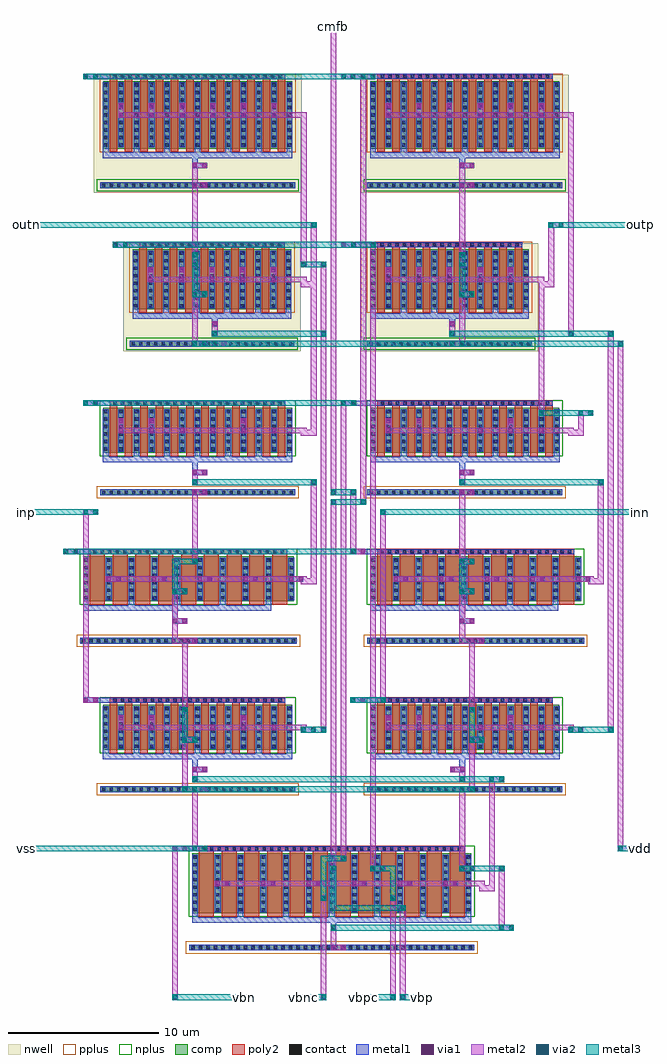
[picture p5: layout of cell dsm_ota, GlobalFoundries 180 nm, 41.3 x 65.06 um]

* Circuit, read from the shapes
.subckt dsm_ota cmfb inn inp outn outp vbn vbnc vbp vbpc vdd vss
XM1 n1 cmfb vss vss nfet_03v3 w=3u l=1u m=9
XM2 n2 inp n3 vss nfet_03v3 w=3u l=0.5u m=12
XM3 outn vbnc n1 vss nfet_03v3 w=3u l=0.5u m=12
XM4 n3 vbn vss vss nfet_03v3 w=4u l=1u m=12
XM5 n4 inn n3 vss nfet_03v3 w=3u l=0.5u m=12
XM6 n5 cmfb vss vss nfet_03v3 w=3u l=1u m=9
XM7 outp vbnc n5 vss nfet_03v3 w=3u l=0.5u m=12
XM8 n2 vbp vdd vdd pfet_03v3 w=4.5u l=0.5u m=12
XM9 outn vbpc n2 vdd pfet_03v3 w=4u l=0.5u m=10
XM10 outp vbpc n4 vdd pfet_03v3 w=4u l=0.5u m=10
XM11 n4 vbp vdd vdd pfet_03v3 w=4.5u l=0.5u m=12
.ends

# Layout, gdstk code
import gdstk
lib = gdstk.Library(unit=1e-6, precision=1e-09)
def R(c, l, rs):  # rectangles x0, y0, x1, y1
    for r in rs: c.add(gdstk.rectangle(r[:2], r[2:], *l))
def A(c, l, x, y, w, h, nx, ny, dx, dy):  # array of equal rectangles
    R(c, l, [(x+i*dx, y+j*dy, x+i*dx+w, y+j*dy+h) for i in range(nx) for j in range(ny)])
nwell = (21, 0)
comp = (22, 0)
poly2 = (30, 0)
pplus = (31, 0)
nplus = (32, 0)
contact = (33, 0)
metal1 = (34, 0)
via1 = (35, 0)
metal2 = (36, 0)
via2 = (38, 0)
metal3 = (42, 0)

dsm_ota_d4_p_m = lib.new_cell('dsm_ota_d4_p_m')
R(dsm_ota_d4_p_m, nwell, [(-0.43,-0.43,13.03,4.93)])
R(dsm_ota_d4_p_m, comp, [(0,0,12.6,4.5)])
A(dsm_ota_d4_p_m, poly2, 0.44, -0.22, 0.5, 5.22, 12, 1, 1.02, 0)
R(dsm_ota_d4_p_m, poly2, [(0.44,4.64,12.16,5)])
R(dsm_ota_d4_p_m, pplus, [(-0.23,-0.23,12.83,5)])
A(dsm_ota_d4_p_m, contact, 0.07, 0.14, 0.22, 0.22, 13, 9, 1.02, 0.5)
A(dsm_ota_d4_p_m, contact, 0.69, 4.71, 0.22, 0.22, 23, 1, 0.5, 0)
A(dsm_ota_d4_p_m, metal1, -0.01, -0.25, 0.38, 4.67, 7, 1, 2.04, 0)
A(dsm_ota_d4_p_m, metal1, -0.01, 0.08, 0.38, 4.34, 13, 1, 1.02, 0)
A(dsm_ota_d4_p_m, metal1, 1.01, 2.06, 0.38, 1, 6, 1, 2.04, 0)
R(dsm_ota_d4_p_m, metal1, [(-0.01,-0.63,12.61,-0.25), (1.01,2.06,1.39,2.44), (1.01,2.06,1.39,2.44), (3.05,2.06,3.43,2.44), (3.05,2.06,3.43,2.44), (5.09,2.06,5.47,2.44), (5.09,2.06,5.47,2.44), (7.13,2.06,7.51,2.44), (7.13,2.06,7.51,2.44), (9.17,2.06,9.55,2.44), (9.17,2.06,9.55,2.44), (11.21,2.06,11.59,2.44), (11.21,2.06,11.59,2.44), (0.44,4.65,12.16,4.99)])
A(dsm_ota_d4_p_m, via1, 1.07, 2.12, 0.26, 0.26, 6, 2, 2.04, 0.62)
A(dsm_ota_d4_p_m, metal2, 1.01, 2.06, 0.38, 1, 6, 1, 2.04, 0)
R(dsm_ota_d4_p_m, metal2, [(1.01,2.06,11.59,2.44), (1.01,2.06,1.39,2.44), (1.01,2.06,1.39,2.44), (3.05,2.06,3.43,2.44), (3.05,2.06,3.43,2.44), (5.09,2.06,5.47,2.44), (5.09,2.06,5.47,2.44), (7.13,2.06,7.51,2.44), (7.13,2.06,7.51,2.44), (9.17,2.06,9.55,2.44), (9.17,2.06,9.55,2.44), (11.21,2.06,11.59,2.44), (11.21,2.06,11.59,2.44)])

dsm_ota_d4_p = lib.new_cell('dsm_ota_d4_p')
R(dsm_ota_d4_p, nwell, [(1.17,0.16,15.03,8.03)])
R(dsm_ota_d4_p, comp, [(1.6,0.48,14.6,0.84)])
R(dsm_ota_d4_p, nplus, [(1.37,0.25,14.83,1.07)])
A(dsm_ota_d4_p, contact, 1.74, 0.55, 0.22, 0.22, 26, 1, 0.5, 0)
R(dsm_ota_d4_p, metal1, [(1.6,0.47,14.6,0.85), (7.73,0.47,8.11,0.85), (7.73,1.79,8.11,2.85), (0.47,7.73,0.85,8.11), (0.47,7.75,13.96,8.09)])
R(dsm_ota_d4_p, metal2, [(14.99,5.09,15.37,5.54), (2.81,5.16,15.37,5.54)])
dsm_ota_d4_p.add(gdstk.Reference(dsm_ota_d4_p_m, (1.8,3.1)))

dsm_ota_d3_p_m = lib.new_cell('dsm_ota_d3_p_m')
R(dsm_ota_d3_p_m, nwell, [(-0.43,-0.43,10.99,4.43)])
R(dsm_ota_d3_p_m, comp, [(0,0,10.56,4)])
A(dsm_ota_d3_p_m, poly2, 0.44, -0.22, 0.5, 4.72, 10, 1, 1.02, 0)
R(dsm_ota_d3_p_m, poly2, [(0.44,4.14,10.12,4.5)])
R(dsm_ota_d3_p_m, pplus, [(-0.23,-0.23,10.79,4.5)])
A(dsm_ota_d3_p_m, contact, 0.07, 0.14, 0.22, 0.22, 11, 8, 1.02, 0.5)
A(dsm_ota_d3_p_m, contact, 0.67, 4.21, 0.22, 0.22, 19, 1, 0.5, 0)
A(dsm_ota_d3_p_m, metal1, -0.01, -0.25, 0.38, 4.17, 6, 1, 2.04, 0)
A(dsm_ota_d3_p_m, metal1, -0.01, 0.08, 0.38, 3.84, 11, 1, 1.02, 0)
A(dsm_ota_d3_p_m, metal1, 1.01, 1.81, 0.38, 1, 5, 1, 2.04, 0)
R(dsm_ota_d3_p_m, metal1, [(-0.01,-0.63,10.57,-0.25), (1.01,1.81,1.39,2.19), (1.01,1.81,1.39,2.19), (3.05,1.81,3.43,2.19), (3.05,1.81,3.43,2.19), (5.09,1.81,5.47,2.19), (5.09,1.81,5.47,2.19), (7.13,1.81,7.51,2.19), (7.13,1.81,7.51,2.19), (9.17,1.81,9.55,2.19), (9.17,1.81,9.55,2.19), (0.44,4.15,10.12,4.49)])
A(dsm_ota_d3_p_m, via1, 1.07, 1.87, 0.26, 0.26, 5, 2, 2.04, 0.62)
A(dsm_ota_d3_p_m, metal2, 1.01, 1.81, 0.38, 1, 5, 1, 2.04, 0)
R(dsm_ota_d3_p_m, metal2, [(1.01,1.81,9.55,2.19), (1.01,1.81,1.39,2.19), (1.01,1.81,1.39,2.19), (3.05,1.81,3.43,2.19), (3.05,1.81,3.43,2.19), (5.09,1.81,5.47,2.19), (5.09,1.81,5.47,2.19), (7.13,1.81,7.51,2.19), (7.13,1.81,7.51,2.19), (9.17,1.81,9.55,2.19), (9.17,1.81,9.55,2.19)])

dsm_ota_d3_p = lib.new_cell('dsm_ota_d3_p')
R(dsm_ota_d3_p, nwell, [(1.17,0.82,12.99,8.03)])
R(dsm_ota_d3_p, comp, [(1.6,1.14,12.56,1.5)])
R(dsm_ota_d3_p, nplus, [(1.37,0.91,12.79,1.73)])
A(dsm_ota_d3_p, contact, 1.72, 1.21, 0.22, 0.22, 22, 1, 0.5, 0)
R(dsm_ota_d3_p, metal1, [(1.6,1.13,12.56,1.51), (7.07,1.13,7.45,1.51), (7.07,2.45,7.45,3.35), (0.47,7.73,0.85,8.11), (0.47,7.75,11.92,8.09)])
R(dsm_ota_d3_p, metal2, [(13.01,5.09,13.39,5.79), (2.81,5.41,13.39,5.79)])
dsm_ota_d3_p.add(gdstk.Reference(dsm_ota_d3_p_m, (1.8,3.6)))

dsm_ota_d2_n_m = lib.new_cell('dsm_ota_d2_n_m')
R(dsm_ota_d2_n_m, comp, [(0,0,14.04,3)])
A(dsm_ota_d2_n_m, poly2, 0.44, -0.22, 1, 3.72, 9, 1, 1.52, 0)
R(dsm_ota_d2_n_m, poly2, [(0.44,3.14,13.6,3.5)])
R(dsm_ota_d2_n_m, nplus, [(-0.23,-0.23,14.27,3.5)])
A(dsm_ota_d2_n_m, contact, 0.07, 0.14, 0.22, 0.22, 10, 6, 1.52, 0.5)
A(dsm_ota_d2_n_m, contact, 0.66, 3.21, 0.22, 0.22, 26, 1, 0.5, 0)
A(dsm_ota_d2_n_m, metal1, -0.01, -0.25, 0.38, 3.17, 5, 1, 3.04, 0)
A(dsm_ota_d2_n_m, metal1, -0.01, 0.08, 0.38, 2.84, 10, 1, 1.52, 0)
A(dsm_ota_d2_n_m, metal1, 1.51, 1.31, 1, 0.38, 5, 1, 3.04, 0)
R(dsm_ota_d2_n_m, metal1, [(-0.01,-0.63,12.53,-0.25), (1.51,1.31,1.89,1.69), (1.51,1.31,1.89,1.69), (4.55,1.31,4.93,1.69), (4.55,1.31,4.93,1.69), (7.59,1.31,7.97,1.69), (7.59,1.31,7.97,1.69), (10.63,1.31,11.01,1.69), (10.63,1.31,11.01,1.69), (13.67,1.31,14.05,1.69), (13.67,1.31,14.05,1.69), (0.44,3.15,13.6,3.49)])
R(dsm_ota_d2_n_m, via1, [(1.57,1.37,1.83,1.63), (2.19,1.37,2.45,1.63), (4.61,1.37,4.87,1.63), (5.23,1.37,5.49,1.63), (7.65,1.37,7.91,1.63), (8.27,1.37,8.53,1.63), (10.69,1.37,10.95,1.63), (11.31,1.37,11.57,1.63), (13.73,1.37,13.99,1.63), (14.35,1.37,14.61,1.63)])
A(dsm_ota_d2_n_m, metal2, 1.51, 1.31, 1, 0.38, 5, 1, 3.04, 0)
R(dsm_ota_d2_n_m, metal2, [(1.51,1.31,14.05,1.69), (1.51,1.31,1.89,1.69), (1.51,1.31,1.89,1.69), (4.55,1.31,4.93,1.69), (4.55,1.31,4.93,1.69), (7.59,1.31,7.97,1.69), (7.59,1.31,7.97,1.69), (10.63,1.31,11.01,1.69), (10.63,1.31,11.01,1.69), (13.67,1.31,14.05,1.69), (13.67,1.31,14.05,1.69)])

dsm_ota_d2_n = lib.new_cell('dsm_ota_d2_n')
R(dsm_ota_d2_n, comp, [(1.6,0.48,16.04,0.84)])
R(dsm_ota_d2_n, pplus, [(1.37,0.25,16.27,1.07)])
A(dsm_ota_d2_n, contact, 1.71, 0.55, 0.22, 0.22, 29, 1, 0.5, 0)
R(dsm_ota_d2_n, metal1, [(1.6,0.47,16.04,0.85), (8.39,0.47,8.77,0.85), (7.73,1.79,8.11,3.03), (0.47,6.41,0.85,6.79), (0.47,6.43,15.4,6.77)])
R(dsm_ota_d2_n, metal2, [(16.31,4.43,16.69,4.97), (3.31,4.59,16.69,4.97)])
dsm_ota_d2_n.add(gdstk.Reference(dsm_ota_d2_n_m, (1.8,3.28)))

dsm_ota_d1_n_m = lib.new_cell('dsm_ota_d1_n_m')
R(dsm_ota_d1_n_m, comp, [(0,0,12.6,3)])
A(dsm_ota_d1_n_m, poly2, 0.44, -0.22, 0.5, 3.72, 12, 1, 1.02, 0)
R(dsm_ota_d1_n_m, poly2, [(0.44,3.14,12.16,3.5)])
R(dsm_ota_d1_n_m, nplus, [(-0.23,-0.23,12.83,3.5)])
A(dsm_ota_d1_n_m, contact, 0.07, 0.14, 0.22, 0.22, 13, 6, 1.02, 0.5)
A(dsm_ota_d1_n_m, contact, 0.69, 3.21, 0.22, 0.22, 23, 1, 0.5, 0)
A(dsm_ota_d1_n_m, metal1, -0.01, -0.25, 0.38, 3.17, 7, 1, 2.04, 0)
A(dsm_ota_d1_n_m, metal1, -0.01, 0.08, 0.38, 2.84, 13, 1, 1.02, 0)
R(dsm_ota_d1_n_m, metal1, [(-0.01,-0.63,12.61,-0.25), (1.01,1.31,1.39,2.31), (1.01,1.31,1.39,1.69), (1.01,1.31,1.39,1.69), (3.05,1.31,3.43,2.31), (3.05,1.31,3.43,1.69), (3.05,1.31,3.43,1.69), (5.09,1.31,5.47,1.69), (5.09,1.31,5.47,1.69), (7.13,1.31,7.51,1.69), (7.13,1.31,7.51,1.69), (9.17,1.31,9.55,2.31), (9.17,1.31,9.55,1.69), (9.17,1.31,9.55,1.69), (11.21,1.31,11.59,1.69), (11.21,1.31,11.59,1.69), (0.44,3.15,12.16,3.49)])
A(dsm_ota_d1_n_m, via1, 1.07, 1.37, 0.26, 0.26, 6, 1, 2.04, 0)
R(dsm_ota_d1_n_m, via1, [(1.07,1.99,1.33,2.25), (3.11,1.99,3.37,2.25), (9.23,1.99,9.49,2.25)])
R(dsm_ota_d1_n_m, metal2, [(1.01,1.31,1.39,2.31), (1.01,1.31,11.59,1.69), (1.01,1.31,1.39,1.69), (1.01,1.31,1.39,1.69), (3.05,1.31,3.43,2.31), (3.05,1.31,3.43,1.69), (3.05,1.31,3.43,1.69), (5.09,1.31,5.47,1.69), (5.09,1.31,5.47,1.69), (7.13,1.31,7.51,1.69), (7.13,1.31,7.51,1.69), (9.17,1.31,9.55,2.31), (9.17,1.31,9.55,1.69), (9.17,1.31,9.55,1.69), (11.21,1.31,11.59,1.69), (11.21,1.31,11.59,1.69)])

dsm_ota_d1_n = lib.new_cell('dsm_ota_d1_n')
R(dsm_ota_d1_n, comp, [(1.6,0.48,14.6,0.84)])
R(dsm_ota_d1_n, pplus, [(1.37,0.25,14.83,1.07)])
A(dsm_ota_d1_n, contact, 1.74, 0.55, 0.22, 0.22, 26, 1, 0.5, 0)
R(dsm_ota_d1_n, metal1, [(1.6,0.47,14.6,0.85), (7.73,0.47,8.11,0.85), (7.73,1.79,8.11,3.03), (0.47,6.41,0.85,6.79), (0.47,6.43,13.96,6.77)])
R(dsm_ota_d1_n, metal2, [(14.99,4.43,15.37,4.97), (2.81,4.59,15.37,4.97)])
dsm_ota_d1_n.add(gdstk.Reference(dsm_ota_d1_n_m, (1.8,3.28)))

dsm_ota_d0_n_m = lib.new_cell('dsm_ota_d0_n_m')
R(dsm_ota_d0_n_m, comp, [(0,0,18.6,4)])
A(dsm_ota_d0_n_m, poly2, 0.44, -0.22, 1, 4.72, 12, 1, 1.52, 0)
R(dsm_ota_d0_n_m, poly2, [(0.44,4.14,18.16,4.5)])
R(dsm_ota_d0_n_m, nplus, [(-0.23,-0.23,18.83,4.5)])
A(dsm_ota_d0_n_m, contact, 0.07, 0.14, 0.22, 0.22, 13, 8, 1.52, 0.5)
A(dsm_ota_d0_n_m, contact, 0.69, 4.21, 0.22, 0.22, 35, 1, 0.5, 0)
A(dsm_ota_d0_n_m, metal1, -0.01, -0.25, 0.38, 4.17, 7, 1, 3.04, 0)
A(dsm_ota_d0_n_m, metal1, -0.01, 0.08, 0.38, 3.84, 13, 1, 1.52, 0)
A(dsm_ota_d0_n_m, metal1, 1.51, 1.81, 1, 0.38, 6, 1, 3.04, 0)
R(dsm_ota_d0_n_m, metal1, [(-0.01,-0.63,18.61,-0.25), (1.51,1.81,1.89,2.19), (1.51,1.81,1.89,2.19), (4.55,1.81,4.93,2.19), (4.55,1.81,4.93,2.19), (7.59,1.81,7.97,2.19), (7.59,1.81,7.97,2.19), (10.63,1.81,11.01,2.19), (10.63,1.81,11.01,2.19), (13.67,1.81,14.05,2.19), (13.67,1.81,14.05,2.19), (16.71,1.81,17.09,2.19), (16.71,1.81,17.09,2.19), (0.44,4.15,18.16,4.49)])
R(dsm_ota_d0_n_m, via1, [(1.57,1.87,1.83,2.13), (2.19,1.87,2.45,2.13), (4.61,1.87,4.87,2.13), (5.23,1.87,5.49,2.13), (7.65,1.87,7.91,2.13), (8.27,1.87,8.53,2.13), (10.69,1.87,10.95,2.13), (11.31,1.87,11.57,2.13), (13.73,1.87,13.99,2.13), (14.35,1.87,14.61,2.13), (16.77,1.87,17.03,2.13), (17.39,1.87,17.65,2.13)])
A(dsm_ota_d0_n_m, metal2, 1.51, 1.81, 1, 0.38, 6, 1, 3.04, 0)
R(dsm_ota_d0_n_m, metal2, [(1.51,1.81,17.09,2.19), (1.51,1.81,1.89,2.19), (1.51,1.81,1.89,2.19), (4.55,1.81,4.93,2.19), (4.55,1.81,4.93,2.19), (7.59,1.81,7.97,2.19), (7.59,1.81,7.97,2.19), (10.63,1.81,11.01,2.19), (10.63,1.81,11.01,2.19), (13.67,1.81,14.05,2.19), (13.67,1.81,14.05,2.19), (16.71,1.81,17.09,2.19), (16.71,1.81,17.09,2.19)])

dsm_ota_d0_n = lib.new_cell('dsm_ota_d0_n')
R(dsm_ota_d0_n, comp, [(1.6,1.14,20.6,1.5)])
R(dsm_ota_d0_n, pplus, [(1.37,0.91,20.83,1.73)])
A(dsm_ota_d0_n, contact, 1.74, 1.21, 0.22, 0.22, 38, 1, 0.5, 0)
R(dsm_ota_d0_n, metal1, [(1.6,1.13,20.6,1.51), (11.03,1.13,11.41,1.51), (11.03,2.45,11.41,3.35), (0.47,7.73,0.85,8.11), (0.47,7.75,19.96,8.09)])
R(dsm_ota_d0_n, metal2, [(20.93,5.09,21.31,5.79), (3.31,5.41,21.31,5.79)])
dsm_ota_d0_n.add(gdstk.Reference(dsm_ota_d0_n_m, (1.8,3.6)))

dsm_ota = lib.new_cell('dsm_ota')
A(dsm_ota, metal1, 21.59, 19.61, 0.38, 0.38, 1, 3, 0, 9.9)
R(dsm_ota, metal1, [(20.27,3.11,21.27,3.49), (20.27,3.11,20.65,3.49), (20.27,4.43,20.65,4.81), (9.71,9.71,10.71,10.09), (9.71,9.71,10.09,10.09), (11.03,13.67,12.03,14.05), (11.03,13.67,11.41,14.05), (28.85,13.67,29.85,14.05), (28.85,13.67,29.23,14.05), (11.03,14.99,12.03,15.37), (11.03,14.99,11.41,15.37), (28.23,14.99,29.23,15.37), (28.85,14.99,29.23,15.37), (3.77,19.61,4.77,19.99), (3.77,19.61,4.15,19.99), (21.59,19.61,22.59,19.99), (10.37,23.57,11.37,23.95), (10.37,23.57,10.75,23.95), (29.51,23.57,30.51,23.95), (29.51,23.57,29.89,23.95), (9.71,24.89,10.71,25.27), (9.71,24.89,10.09,25.27), (28.85,24.89,29.85,25.27), (28.85,24.89,29.23,25.27), (2.45,29.51,3.45,29.89), (2.45,29.51,2.83,29.89), (21.59,29.51,22.59,29.89), (11.03,33.47,12.03,33.85), (11.03,33.47,11.41,33.85), (28.85,33.47,29.85,33.85), (28.85,33.47,29.23,33.85), (11.03,34.79,12.03,35.17), (11.03,34.79,11.41,35.17), (28.85,34.79,29.85,35.17), (28.85,34.79,29.23,35.17), (3.77,39.41,4.77,39.79), (3.77,39.41,4.15,39.79), (20.97,39.41,21.97,39.79), (12.35,43.37,13.35,43.75), (12.35,43.37,12.73,43.75), (28.19,43.37,29.19,43.75), (28.19,43.37,28.57,43.75), (12.35,44.69,12.73,45.07), (28.19,44.69,28.57,45.07), (5.75,49.97,6.75,50.35), (5.75,49.97,6.13,50.35), (20.97,49.97,21.97,50.35), (21.59,49.97,21.97,50.35), (11.03,53.93,12.03,54.31), (11.03,53.93,11.41,54.31), (28.85,53.93,29.85,54.31), (28.85,53.93,29.23,54.31), (11.03,55.25,12.03,55.63), (11.03,55.25,11.41,55.63), (28.85,55.25,29.85,55.63), (28.85,55.25,29.23,55.63), (3.77,61.19,4.77,61.57), (3.77,61.19,4.15,61.57), (21.59,61.19,22.59,61.57), (21.59,61.19,21.97,61.57)])
A(dsm_ota, via1, 21.65, 19.67, 0.26, 0.26, 1, 3, 0, 9.9)
R(dsm_ota, via1, [(20.33,3.17,20.59,3.43), (20.95,3.17,21.21,3.43), (20.33,4.49,20.59,4.75), (9.77,9.77,10.03,10.03), (10.39,9.77,10.65,10.03), (11.09,13.73,11.35,13.99), (11.71,13.73,11.97,13.99), (28.91,13.73,29.17,13.99), (29.53,13.73,29.79,13.99), (11.09,15.05,11.35,15.31), (11.71,15.05,11.97,15.31), (28.29,15.05,28.55,15.31), (28.91,15.05,29.17,15.31), (3.83,19.67,4.09,19.93), (4.45,19.67,4.71,19.93), (22.27,19.67,22.53,19.93), (10.43,23.63,10.69,23.89), (11.05,23.63,11.31,23.89), (29.57,23.63,29.83,23.89), (30.19,23.63,30.45,23.89), (9.77,24.95,10.03,25.21), (10.39,24.95,10.65,25.21), (28.91,24.95,29.17,25.21), (29.53,24.95,29.79,25.21), (2.51,29.57,2.77,29.83), (3.13,29.57,3.39,29.83), (22.27,29.57,22.53,29.83), (11.09,33.53,11.35,33.79), (11.71,33.53,11.97,33.79), (28.91,33.53,29.17,33.79), (29.53,33.53,29.79,33.79), (11.09,34.85,11.35,35.11), (11.71,34.85,11.97,35.11), (28.91,34.85,29.17,35.11), (29.53,34.85,29.79,35.11), (3.83,39.47,4.09,39.73), (4.45,39.47,4.71,39.73), (21.03,39.47,21.29,39.73), (12.41,43.43,12.67,43.69), (13.03,43.43,13.29,43.69), (28.25,43.43,28.51,43.69), (28.87,43.43,29.13,43.69), (12.41,44.75,12.67,45.01), (28.25,44.75,28.51,45.01), (5.81,50.03,6.07,50.29), (6.43,50.03,6.69,50.29), (21.03,50.03,21.29,50.29), (21.65,50.03,21.91,50.29), (11.09,53.99,11.35,54.25), (11.71,53.99,11.97,54.25), (28.91,53.99,29.17,54.25), (29.53,53.99,29.79,54.25), (11.09,55.31,11.35,55.57), (11.71,55.31,11.97,55.57), (28.91,55.31,29.17,55.57), (29.53,55.31,29.79,55.57), (3.83,61.25,4.09,61.51), (4.45,61.25,4.71,61.51), (21.65,61.25,21.91,61.51), (22.27,61.25,22.53,61.51)])
A(dsm_ota, metal2, 9.71, -0.19, 0.38, 0.38, 1, 16, 0, 0.66)
A(dsm_ota, metal2, 9.71, -0.19, 0.38, 1.04, 1, 15, 0, 0.66)
A(dsm_ota, metal2, 19.61, -0.19, 0.38, 0.38, 1, 11, 0, 0.66)
A(dsm_ota, metal2, 19.61, -0.19, 0.38, 1.04, 1, 10, 0, 0.66)
A(dsm_ota, metal2, 24.23, -0.19, 0.38, 0.38, 1, 11, 0, 0.66)
A(dsm_ota, metal2, 24.23, -0.19, 0.38, 1.04, 1, 10, 0, 0.66)
A(dsm_ota, metal2, 24.89, -0.19, 0.38, 0.38, 1, 10, 0, 0.66)
A(dsm_ota, metal2, 24.89, -0.19, 0.38, 1.04, 1, 9, 0, 0.66)
A(dsm_ota, metal2, 20.27, 3.11, 0.38, 0.38, 1, 3, 0, 0.66)
A(dsm_ota, metal2, 31.49, 4.43, 0.38, 0.38, 1, 4, 0, 0.66)
A(dsm_ota, metal2, 31.49, 4.43, 0.38, 1.04, 1, 6, 0, 0.66)
A(dsm_ota, metal2, 30.17, 7.07, 0.38, 0.38, 3, 1, 0.66, 0)
A(dsm_ota, metal2, 30.83, 7.07, 0.38, 1.04, 1, 11, 0, 0.66)
A(dsm_ota, metal2, 30.83, 7.73, 0.38, 0.38, 1, 11, 0, 0.66)
A(dsm_ota, metal2, 20.27, 8.39, 0.38, 0.38, 1, 14, 0, 0.66)
A(dsm_ota, metal2, 20.27, 8.39, 0.38, 1.04, 1, 14, 0, 0.66)
A(dsm_ota, metal2, 22.91, 8.39, 0.38, 0.38, 1, 37, 0, 0.66)
A(dsm_ota, metal2, 22.91, 8.39, 0.38, 1.04, 1, 37, 0, 0.66)
A(dsm_ota, metal2, 28.85, 8.39, 0.38, 0.38, 1, 9, 0, 0.66)
A(dsm_ota, metal2, 28.85, 8.39, 0.38, 1.04, 1, 8, 0, 0.66)
A(dsm_ota, metal2, 20.93, 9.05, 0.38, 0.38, 1, 13, 0, 0.66)
A(dsm_ota, metal2, 20.93, 9.05, 0.38, 1.04, 1, 13, 0, 0.66)
A(dsm_ota, metal2, 11.03, 9.71, 0.38, 0.38, 1, 7, 0, 0.66)
A(dsm_ota, metal2, 11.03, 9.71, 0.38, 1.04, 1, 6, 0, 0.66)
A(dsm_ota, metal2, 39.41, 9.71, 0.38, 0.38, 1, 27, 0, 0.66)
A(dsm_ota, metal2, 39.41, 9.71, 0.38, 1.04, 1, 27, 0, 0.66)
A(dsm_ota, metal2, 10.37, 13.67, 0.38, 0.38, 1, 6, 0, 0.66)
A(dsm_ota, metal2, 10.37, 13.67, 0.38, 1.04, 1, 5, 0, 0.66)
A(dsm_ota, metal2, 11.03, 13.67, 0.38, 0.38, 1, 3, 0, 0.66)
A(dsm_ota, metal2, 28.85, 13.67, 0.38, 0.38, 1, 3, 0, 0.66)
A(dsm_ota, metal2, 29.51, 13.67, 0.38, 0.38, 1, 6, 0, 0.66)
A(dsm_ota, metal2, 29.51, 13.67, 0.38, 1.04, 1, 5, 0, 0.66)
A(dsm_ota, metal2, 19.61, 17.63, 0.38, 0.38, 3, 3, 0.66, 0.66)
A(dsm_ota, metal2, 19.61, 17.63, 0.38, 1.04, 3, 15, 0.66, 0.66)
A(dsm_ota, metal2, 38.75, 17.63, 0.38, 0.38, 1, 15, 0, 0.66)
A(dsm_ota, metal2, 38.75, 17.63, 0.38, 1.04, 1, 15, 0, 0.66)
A(dsm_ota, metal2, 10.37, 18.95, 0.38, 0.38, 1, 8, 0, 0.66)
A(dsm_ota, metal2, 10.37, 18.95, 0.38, 1.04, 1, 7, 0, 0.66)
A(dsm_ota, metal2, 29.51, 18.95, 0.38, 0.38, 1, 8, 0, 0.66)
A(dsm_ota, metal2, 29.51, 18.95, 0.38, 1.04, 1, 7, 0, 0.66)
A(dsm_ota, metal2, 3.77, 19.61, 0.38, 0.38, 1, 20, 0, 0.66)
A(dsm_ota, metal2, 3.77, 19.61, 0.38, 1.04, 1, 19, 0, 0.66)
A(dsm_ota, metal2, 19.61, 19.61, 0.38, 0.38, 4, 1, 0.66, 0)
A(dsm_ota, metal2, 23.57, 19.61, 0.38, 0.38, 1, 20, 0, 0.66)
A(dsm_ota, metal2, 23.57, 19.61, 0.38, 1.04, 1, 19, 0, 0.66)
A(dsm_ota, metal2, 19.61, 20.27, 0.38, 0.38, 3, 11, 0.66, 0.66)
A(dsm_ota, metal2, 9.71, 23.57, 0.38, 0.38, 1, 3, 0, 0.66)
A(dsm_ota, metal2, 9.71, 23.57, 0.38, 1.04, 1, 5, 0, 0.66)
A(dsm_ota, metal2, 28.85, 23.57, 0.38, 0.38, 1, 3, 0, 0.66)
A(dsm_ota, metal2, 28.85, 23.57, 0.38, 1.04, 1, 5, 0, 0.66)
A(dsm_ota, metal2, 9.71, 24.89, 0.38, 0.38, 1, 4, 0, 0.66)
A(dsm_ota, metal2, 28.85, 24.89, 1, 0.38, 1, 3, 0, 1.98)
A(dsm_ota, metal2, 28.85, 24.89, 0.38, 0.38, 1, 4, 0, 0.66)
A(dsm_ota, metal2, 18.29, 27.53, 1.04, 0.38, 1, 3, 0, 9.9)
A(dsm_ota, metal2, 18.29, 27.53, 0.38, 0.38, 5, 2, 0.66, 9.9)
A(dsm_ota, metal2, 18.95, 27.53, 0.38, 1.04, 4, 3, 0.66, 0.66)
A(dsm_ota, metal2, 37.43, 27.53, 0.38, 0.38, 4, 1, 0.66, 0)
A(dsm_ota, metal2, 38.09, 27.53, 0.38, 1.04, 3, 10, 0.66, 0.66)
A(dsm_ota, metal2, 18.95, 28.19, 0.38, 0.38, 4, 2, 0.66, 0.66)
A(dsm_ota, metal2, 38.09, 28.19, 0.38, 0.38, 3, 10, 0.66, 0.66)
A(dsm_ota, metal2, 11.03, 28.85, 0.38, 0.38, 1, 8, 0, 0.66)
A(dsm_ota, metal2, 11.03, 28.85, 0.38, 1.04, 1, 7, 0, 0.66)
A(dsm_ota, metal2, 28.85, 28.85, 0.38, 0.38, 1, 8, 0, 0.66)
A(dsm_ota, metal2, 28.85, 28.85, 0.38, 1.04, 1, 7, 0, 0.66)
A(dsm_ota, metal2, 18.95, 29.51, 0.38, 0.38, 5, 5, 0.66, 0.66)
A(dsm_ota, metal2, 18.95, 29.51, 0.38, 1.04, 5, 5, 0.66, 0.66)
A(dsm_ota, metal2, 18.95, 32.81, 0.38, 0.38, 7, 2, 0.66, 0.66)
A(dsm_ota, metal2, 20.93, 32.81, 0.38, 1.04, 4, 1, 0.66, 0)
A(dsm_ota, metal2, 11.03, 33.47, 0.38, 0.38, 1, 3, 0, 0.66)
A(dsm_ota, metal2, 18.95, 33.47, 0.38, 1.04, 4, 2, 0.66, 3.96)
A(dsm_ota, metal2, 22.25, 33.47, 0.38, 1.04, 1, 27, 0, 0.66)
A(dsm_ota, metal2, 22.91, 33.47, 0.38, 1.04, 1, 23, 0, 0.66)
A(dsm_ota, metal2, 28.85, 33.47, 0.38, 0.38, 1, 3, 0, 0.66)
A(dsm_ota, metal2, 18.95, 34.13, 0.38, 0.38, 4, 2, 0.66, 3.96)
A(dsm_ota, metal2, 19.61, 34.13, 0.38, 1.04, 3, 5, 0.66, 0.66)
A(dsm_ota, metal2, 22.25, 34.13, 0.38, 0.38, 1, 8, 0, 0.66)
A(dsm_ota, metal2, 22.91, 34.13, 0.38, 0.38, 1, 8, 0, 0.66)
A(dsm_ota, metal2, 38.75, 34.13, 0.38, 1.04, 1, 15, 0, 0.66)
A(dsm_ota, metal2, 39.41, 34.13, 0.38, 1.04, 1, 14, 0, 0.66)
A(dsm_ota, metal2, 19.61, 34.79, 0.38, 0.38, 3, 4, 0.66, 0.66)
A(dsm_ota, metal2, 38.75, 34.79, 0.38, 0.38, 1, 15, 0, 0.66)
A(dsm_ota, metal2, 39.41, 34.79, 0.38, 0.38, 1, 14, 0, 0.66)
A(dsm_ota, metal2, 36.77, 37.43, 0.38, 0.38, 1, 3, 0, 0.66)
A(dsm_ota, metal2, 18.95, 38.09, 0.38, 1.04, 4, 2, 0.66, 0.66)
A(dsm_ota, metal2, 18.95, 38.75, 0.38, 0.38, 4, 1, 0.66, 0)
A(dsm_ota, metal2, 34.13, 38.75, 0.38, 0.38, 1, 14, 0, 0.66)
A(dsm_ota, metal2, 34.13, 38.75, 0.38, 1.04, 1, 13, 0, 0.66)
A(dsm_ota, metal2, 18.95, 39.41, 0.38, 0.38, 5, 1, 0.66, 0)
A(dsm_ota, metal2, 18.95, 39.41, 0.38, 1.04, 3, 14, 0.66, 0.66)
A(dsm_ota, metal2, 21.59, 39.41, 0.38, 0.38, 3, 2, 0.66, 10.56)
A(dsm_ota, metal2, 18.95, 40.07, 0.38, 0.38, 3, 11, 0.66, 0.66)
A(dsm_ota, metal2, 22.25, 40.07, 0.38, 0.38, 1, 15, 0, 0.66)
A(dsm_ota, metal2, 22.91, 40.07, 0.38, 0.38, 1, 13, 0, 0.66)
A(dsm_ota, metal2, 11.03, 43.37, 0.38, 0.38, 1, 6, 0, 0.66)
A(dsm_ota, metal2, 11.03, 43.37, 0.38, 1.04, 1, 5, 0, 0.66)
A(dsm_ota, metal2, 12.35, 43.37, 0.38, 0.38, 1, 3, 0, 0.66)
A(dsm_ota, metal2, 28.19, 43.37, 0.38, 0.38, 1, 3, 0, 0.66)
A(dsm_ota, metal2, 28.85, 43.37, 0.38, 0.38, 1, 6, 0, 0.66)
A(dsm_ota, metal2, 28.85, 43.37, 0.38, 1.04, 1, 5, 0, 0.66)
A(dsm_ota, metal2, 36.11, 44.03, 0.38, 0.38, 1, 23, 0, 0.66)
A(dsm_ota, metal2, 36.11, 44.03, 0.38, 1.04, 1, 22, 0, 0.66)
A(dsm_ota, metal2, 18.29, 47.33, 0.38, 0.38, 4, 2, 0.66, 1.32)
A(dsm_ota, metal2, 18.95, 47.99, 0.38, 0.38, 3, 1, 0.66, 0)
A(dsm_ota, metal2, 11.03, 48.65, 0.38, 0.38, 1, 9, 0, 0.66)
A(dsm_ota, metal2, 11.03, 48.65, 0.38, 1.04, 1, 10, 0, 0.66)
A(dsm_ota, metal2, 18.29, 48.65, 0.38, 1.04, 1, 4, 0, 0.66)
A(dsm_ota, metal2, 18.95, 48.65, 0.38, 1.04, 1, 4, 0, 0.66)
A(dsm_ota, metal2, 20.27, 48.65, 0.38, 1.04, 1, 4, 0, 0.66)
A(dsm_ota, metal2, 22.91, 48.65, 0.38, 0.38, 3, 2, 5.94, 0.66)
A(dsm_ota, metal2, 22.91, 48.65, 0.38, 1.04, 3, 2, 5.94, 0.66)
A(dsm_ota, metal2, 18.29, 49.31, 0.38, 0.38, 1, 4, 0, 0.66)
A(dsm_ota, metal2, 18.95, 49.97, 0.38, 0.38, 3, 1, 1.32, 0)
A(dsm_ota, metal2, 28.85, 49.97, 0.38, 0.38, 1, 7, 0, 0.66)
A(dsm_ota, metal2, 28.85, 49.97, 0.38, 1.04, 1, 8, 0, 0.66)
A(dsm_ota, metal2, 34.79, 49.97, 0.38, 0.38, 1, 3, 0, 0.66)
A(dsm_ota, metal2, 18.29, 51.29, 0.38, 1.04, 3, 11, 1.98, 0.66)
A(dsm_ota, metal2, 18.29, 51.95, 0.38, 0.38, 3, 11, 1.98, 0.66)
A(dsm_ota, metal2, 11.03, 53.93, 0.38, 0.38, 1, 3, 0, 0.66)
A(dsm_ota, metal2, 28.85, 53.93, 0.38, 0.38, 1, 3, 0, 0.66)
A(dsm_ota, metal2, 20.27, 58.55, 0.38, 1.04, 1, 9, 0, 0.66)
A(dsm_ota, metal2, 22.25, 58.55, 0.38, 1.04, 1, 4, 0, 0.66)
A(dsm_ota, metal2, 20.27, 59.21, 0.38, 0.38, 1, 9, 0, 0.66)
A(dsm_ota, metal2, 22.25, 59.21, 0.38, 0.38, 1, 4, 0, 0.66)
R(dsm_ota, metal2, [(20.27,3.11,21.27,3.49), (20.27,3.11,20.65,3.49), (20.27,3.11,20.65,4.15), (20.27,3.77,20.65,4.81), (20.27,4.43,20.65,4.81), (31.49,4.43,32.49,4.81), (30.17,7.07,31.21,7.45), (31.49,7.73,31.87,8.11), (22.91,8.39,23.91,8.77), (28.85,8.39,29.85,8.77), (31.49,8.39,31.87,8.77), (9.71,9.71,10.71,10.09), (9.71,9.71,10.09,10.09), (11.03,9.71,12.03,10.09), (39.41,9.71,40.41,10.09), (10.37,13.67,11.41,14.05), (11.03,13.67,12.03,14.05), (28.85,13.67,29.85,14.05), (28.85,13.67,29.89,14.05), (11.03,14.33,11.41,15.37), (28.85,14.33,29.23,15.37), (30.83,14.33,31.83,14.71), (11.03,14.99,12.03,15.37), (11.03,14.99,11.41,15.37), (28.23,14.99,29.23,15.37), (28.85,14.99,29.23,15.37), (10.37,16.97,11.37,17.35), (29.51,16.97,30.51,17.35), (18.29,17.63,19.29,18.01), (18.29,17.63,18.67,18.01), (36.11,17.63,37.11,18.01), (36.11,17.63,36.49,18.01), (3.77,19.61,4.77,19.99), (3.77,19.61,4.15,19.99), (21.59,19.61,22.59,19.99), (21.59,19.61,21.97,19.99), (9.71,23.57,10.75,23.95), (10.37,23.57,11.37,23.95), (10.37,23.57,10.75,23.95), (28.85,23.57,29.89,23.95), (29.51,23.57,30.51,23.95), (29.51,23.57,29.89,23.95), (9.71,24.89,10.71,25.27), (9.71,26.87,10.71,27.25), (37.43,27.53,38.47,27.91), (2.45,29.51,3.45,29.89), (2.45,29.51,3.45,29.89), (2.45,29.51,2.83,29.89), (2.45,29.51,2.83,29.89), (21.59,29.51,22.59,29.89), (21.59,29.51,21.97,29.89), (3.77,32.15,4.77,32.53), (18.95,32.81,19.33,33.85), (19.61,32.81,19.99,33.85), (11.03,33.47,12.03,33.85), (28.85,33.47,29.85,33.85), (11.03,34.13,11.41,35.17), (28.85,34.13,29.23,35.17), (11.03,34.79,12.03,35.17), (11.03,34.79,11.41,35.17), (28.85,34.79,29.85,35.17), (28.85,34.79,29.23,35.17), (36.11,37.43,37.15,37.81), (36.11,37.43,36.49,37.81), (36.77,37.43,37.15,38.47), (36.77,38.09,37.15,39.13), (36.77,38.75,37.77,39.13), (3.77,39.41,4.77,39.79), (3.77,39.41,4.77,39.79), (3.77,39.41,4.15,39.79), (3.77,39.41,4.15,39.79), (20.93,39.41,21.97,39.79), (20.97,39.41,21.97,39.79), (11.03,43.37,12.03,43.75), (12.35,43.37,13.35,43.75), (12.35,43.37,12.73,43.75), (28.19,43.37,29.19,43.75), (28.19,43.37,29.23,43.75), (28.19,43.37,28.57,43.75), (12.35,44.03,12.73,45.07), (28.19,44.03,28.57,45.07), (12.35,44.69,12.73,45.07), (28.19,44.69,28.57,45.07), (11.03,46.67,12.03,47.05), (28.85,46.67,29.85,47.05), (34.13,47.33,35.17,47.71), (34.79,47.33,35.17,47.71), (34.79,47.33,35.17,48.37), (34.79,47.99,35.17,48.37), (34.79,47.99,35.17,49.03), (11.03,48.65,11.41,49.65), (28.85,48.65,29.23,49.65), (18.95,49.31,19.33,49.69), (20.27,49.31,20.65,49.69), (5.75,49.97,6.75,50.35), (5.75,49.97,6.75,50.35), (5.75,49.97,6.13,50.35), (5.75,49.97,6.13,50.35), (20.97,49.97,21.97,50.35), (34.79,49.97,35.17,51.01), (18.95,50.63,19.33,51.01), (20.27,50.63,20.65,51.01), (22.25,50.63,22.63,51.01), (34.79,50.63,35.17,51.67), (18.95,51.29,19.33,51.67), (20.27,51.29,20.65,51.67), (22.25,51.29,22.63,51.67), (34.79,51.29,35.79,51.67), (11.03,53.93,12.03,54.31), (28.85,53.93,29.85,54.31), (11.03,55.25,12.03,55.63), (11.03,55.25,11.41,55.63), (28.85,55.25,29.85,55.63), (28.85,55.25,29.23,55.63), (3.77,61.19,4.77,61.57), (3.77,61.19,4.77,61.57), (3.77,61.19,4.15,61.57), (3.77,61.19,4.15,61.57), (20.97,61.19,21.97,61.57), (21.59,61.19,22.59,61.57), (21.59,61.19,22.63,61.57), (21.59,61.19,21.97,61.57), (21.59,61.19,21.97,61.57), (22.25,61.19,23.25,61.57)])
R(dsm_ota, via2, [(9.77,-0.13,10.03,0.13), (19.67,-0.13,19.93,0.13), (24.29,-0.13,24.55,0.13), (24.95,-0.13,25.21,0.13), (20.33,4.49,20.59,4.75), (31.55,4.49,31.81,4.75), (32.17,4.49,32.43,4.75), (24.95,5.81,25.21,6.07), (19.67,6.47,19.93,6.73), (24.29,6.47,24.55,6.73), (20.33,8.45,20.59,8.71), (22.97,8.45,23.23,8.71), (23.59,8.45,23.85,8.71), (28.91,8.45,29.17,8.71), (29.53,8.45,29.79,8.71), (31.55,8.45,31.81,8.71), (20.99,9.11,21.25,9.37), (11.09,9.77,11.35,10.03), (11.71,9.77,11.97,10.03), (39.47,9.77,39.73,10.03), (40.09,9.77,40.35,10.03), (10.43,13.73,10.69,13.99), (11.09,13.73,11.35,13.99), (28.91,13.73,29.17,13.99), (29.57,13.73,29.83,13.99), (11.09,14.39,11.35,14.65), (28.91,14.39,29.17,14.65), (30.89,14.39,31.15,14.65), (31.51,14.39,31.77,14.65), (10.43,17.03,10.69,17.29), (11.05,17.03,11.31,17.29), (29.57,17.03,29.83,17.29), (30.19,17.03,30.45,17.29), (18.35,17.69,18.61,17.95), (18.97,17.69,19.23,17.95), (19.67,17.69,19.93,17.95), (36.17,17.69,36.43,17.95), (36.79,17.69,37.05,17.95), (38.81,17.69,39.07,17.95), (10.43,19.01,10.69,19.27), (29.57,19.01,29.83,19.27), (21.65,19.67,21.91,19.93), (23.63,19.67,23.89,19.93), (9.77,26.93,10.03,27.19), (10.39,26.93,10.65,27.19), (28.91,26.93,29.17,27.19), (29.53,26.93,29.79,27.19), (11.09,28.91,11.35,29.17), (28.91,28.91,29.17,29.17), (29.53,28.91,29.79,29.17), (2.51,29.57,2.77,29.83), (3.13,29.57,3.39,29.83), (21.65,29.57,21.91,29.83), (3.83,32.21,4.09,32.47), (4.45,32.21,4.71,32.47), (23.63,32.21,23.89,32.47), (20.33,32.87,20.59,33.13), (22.31,32.87,22.57,33.13), (20.33,33.53,20.59,33.79), (21.65,33.53,21.91,33.79), (11.09,34.19,11.35,34.45), (19.01,34.19,19.27,34.45), (28.91,34.19,29.17,34.45), (38.15,34.19,38.41,34.45), (34.19,38.81,34.45,39.07), (36.83,38.81,37.09,39.07), (37.45,38.81,37.71,39.07), (3.83,39.47,4.09,39.73), (4.45,39.47,4.71,39.73), (20.99,39.47,21.25,39.73), (21.65,39.47,21.91,39.73), (11.09,43.43,11.35,43.69), (11.71,43.43,11.97,43.69), (12.41,43.43,12.67,43.69), (28.25,43.43,28.51,43.69), (28.91,43.43,29.17,43.69), (39.47,43.43,39.73,43.69), (12.41,44.09,12.67,44.35), (19.67,44.09,19.93,44.35), (28.25,44.09,28.51,44.35), (36.17,44.09,36.43,44.35), (38.81,44.09,39.07,44.35), (11.09,46.73,11.35,46.99), (11.71,46.73,11.97,46.99), (28.91,46.73,29.17,46.99), (29.53,46.73,29.79,46.99), (11.09,48.71,11.35,48.97), (18.35,48.71,18.61,48.97), (19.67,48.71,19.93,48.97), (28.91,48.71,29.17,48.97), (11.09,49.33,11.35,49.59), (28.91,49.33,29.17,49.59), (5.81,50.03,6.07,50.29), (6.43,50.03,6.69,50.29), (21.65,50.03,21.91,50.29), (22.97,50.03,23.23,50.29), (19.01,51.35,19.27,51.61), (34.85,51.35,35.11,51.61), (35.47,51.35,35.73,51.61), (3.83,61.25,4.09,61.51), (4.45,61.25,4.71,61.51), (21.03,61.25,21.29,61.51), (21.65,61.25,21.91,61.51), (22.31,61.25,22.57,61.51), (22.93,61.25,23.19,61.51), (20.33,64.55,20.59,64.81)])
A(dsm_ota, metal3, 9.71, -0.19, 1.04, 0.38, 7, 1, 0.66, 0)
A(dsm_ota, metal3, 9.71, -0.19, 0.38, 0.38, 8, 1, 0.66, 0)
A(dsm_ota, metal3, 18.29, -0.19, 0.38, 0.38, 3, 2, 0.66, 17.82)
A(dsm_ota, metal3, 22.25, -0.19, 1.04, 0.38, 3, 1, 0.66, 0)
A(dsm_ota, metal3, 22.25, -0.19, 0.38, 0.38, 7, 1, 0.66, 0)
A(dsm_ota, metal3, 20.27, 4.43, 1.04, 0.38, 17, 1, 0.66, 0)
A(dsm_ota, metal3, 20.27, 4.43, 0.38, 0.38, 18, 1, 0.66, 0)
A(dsm_ota, metal3, 20.27, 5.75, 0.38, 1.04, 1, 4, 0, 0.66)
A(dsm_ota, metal3, 20.27, 5.75, 1.04, 0.38, 7, 1, 0.66, 0)
A(dsm_ota, metal3, 20.27, 5.75, 0.38, 0.38, 8, 1, 0.66, 0)
A(dsm_ota, metal3, 19.61, 6.41, 0.38, 1.04, 1, 4, 0, 0.66)
A(dsm_ota, metal3, 19.61, 6.41, 0.38, 0.38, 1, 4, 0, 0.66)
A(dsm_ota, metal3, 20.27, 6.41, 0.38, 0.38, 1, 4, 0, 0.66)
A(dsm_ota, metal3, 24.23, 6.41, 0.38, 1.04, 1, 3, 0, 0.66)
A(dsm_ota, metal3, 24.23, 6.41, 0.38, 0.38, 1, 3, 0, 0.66)
A(dsm_ota, metal3, 22.91, 8.39, 0.38, 0.38, 3, 1, 0.66, 0)
A(dsm_ota, metal3, 28.85, 8.39, 1.04, 0.38, 4, 1, 0.66, 0)
A(dsm_ota, metal3, 28.85, 8.39, 0.38, 0.38, 5, 1, 0.66, 0)
A(dsm_ota, metal3, 19.61, 9.05, 0.38, 0.38, 3, 1, 0.66, 0)
A(dsm_ota, metal3, -0.19, 9.71, 1.04, 0.38, 17, 1, 0.66, 0)
A(dsm_ota, metal3, -0.19, 9.71, 0.38, 0.38, 18, 1, 0.66, 0)
A(dsm_ota, metal3, 39.41, 9.71, 0.38, 0.38, 3, 1, 0.66, 0)
A(dsm_ota, metal3, 10.37, 13.67, 1.04, 0.38, 29, 1, 0.66, 0)
A(dsm_ota, metal3, 10.37, 13.67, 0.38, 0.38, 30, 1, 0.66, 0)
A(dsm_ota, metal3, 11.03, 14.33, 1.04, 0.38, 30, 1, 0.66, 0)
A(dsm_ota, metal3, 11.03, 14.33, 0.38, 0.38, 31, 1, 0.66, 0)
A(dsm_ota, metal3, 10.37, 16.97, 0.38, 1.04, 1, 3, 0, 0.66)
A(dsm_ota, metal3, 10.37, 16.97, 0.38, 0.38, 1, 4, 0, 0.66)
A(dsm_ota, metal3, 29.51, 16.97, 0.38, 1.04, 1, 3, 0, 0.66)
A(dsm_ota, metal3, 29.51, 16.97, 0.38, 0.38, 1, 4, 0, 0.66)
A(dsm_ota, metal3, 36.11, 17.63, 1.04, 0.38, 4, 1, 0.66, 0)
A(dsm_ota, metal3, 36.11, 17.63, 0.38, 0.38, 5, 1, 0.66, 0)
A(dsm_ota, metal3, 21.59, 19.61, 1.04, 0.38, 3, 1, 0.66, 0)
A(dsm_ota, metal3, 21.59, 19.61, 0.38, 0.38, 4, 1, 0.66, 0)
A(dsm_ota, metal3, 9.71, 26.87, 0.38, 1.04, 1, 3, 0, 0.66)
A(dsm_ota, metal3, 9.71, 26.87, 0.38, 0.38, 1, 3, 0, 0.66)
A(dsm_ota, metal3, 28.85, 26.87, 0.38, 1.04, 1, 3, 0, 0.66)
A(dsm_ota, metal3, 28.85, 26.87, 0.38, 0.38, 1, 4, 0, 0.66)
A(dsm_ota, metal3, 9.71, 28.85, 0.38, 0.38, 3, 1, 0.66, 0)
A(dsm_ota, metal3, 2.45, 29.51, 1.04, 0.38, 29, 1, 0.66, 0)
A(dsm_ota, metal3, 2.45, 29.51, 0.38, 0.38, 30, 1, 0.66, 0)
A(dsm_ota, metal3, -0.19, 32.15, 1.04, 0.38, 6, 1, 0.66, 0)
A(dsm_ota, metal3, -0.19, 32.15, 0.38, 0.38, 7, 1, 0.66, 0)
A(dsm_ota, metal3, 23.57, 32.15, 1.04, 0.38, 26, 1, 0.66, 0)
A(dsm_ota, metal3, 23.57, 32.15, 0.38, 0.38, 27, 1, 0.66, 0)
A(dsm_ota, metal3, 20.27, 32.81, 1.04, 0.38, 3, 1, 0.66, 0)
A(dsm_ota, metal3, 20.27, 32.81, 0.38, 0.38, 4, 1, 0.66, 0)
A(dsm_ota, metal3, 20.27, 33.47, 0.38, 0.38, 3, 1, 0.66, 0)
A(dsm_ota, metal3, 11.03, 34.13, 1.04, 0.38, 12, 1, 0.66, 0)
A(dsm_ota, metal3, 11.03, 34.13, 0.38, 0.38, 13, 1, 0.66, 0)
A(dsm_ota, metal3, 28.85, 34.13, 1.04, 0.38, 14, 1, 0.66, 0)
A(dsm_ota, metal3, 28.85, 34.13, 0.38, 0.38, 15, 1, 0.66, 0)
A(dsm_ota, metal3, 34.13, 38.75, 1.04, 0.38, 4, 1, 0.66, 0)
A(dsm_ota, metal3, 34.13, 38.75, 0.38, 0.38, 5, 1, 0.66, 0)
A(dsm_ota, metal3, 3.77, 39.41, 1.04, 0.38, 27, 1, 0.66, 0)
A(dsm_ota, metal3, 3.77, 39.41, 0.38, 0.38, 28, 1, 0.66, 0)
A(dsm_ota, metal3, 11.03, 43.37, 1.04, 0.38, 43, 1, 0.66, 0)
A(dsm_ota, metal3, 11.03, 43.37, 0.38, 0.38, 44, 1, 0.66, 0)
A(dsm_ota, metal3, 12.35, 44.03, 1.04, 0.38, 11, 1, 0.66, 0)
A(dsm_ota, metal3, 12.35, 44.03, 0.38, 0.38, 12, 1, 0.66, 0)
A(dsm_ota, metal3, 28.19, 44.03, 1.04, 0.38, 16, 1, 0.66, 0)
A(dsm_ota, metal3, 28.19, 44.03, 0.38, 0.38, 17, 1, 0.66, 0)
A(dsm_ota, metal3, 11.03, 46.67, 0.38, 1.04, 1, 3, 0, 0.66)
A(dsm_ota, metal3, 11.03, 46.67, 0.38, 0.38, 1, 4, 0, 0.66)
A(dsm_ota, metal3, 28.85, 46.67, 0.38, 1.04, 1, 3, 0, 0.66)
A(dsm_ota, metal3, 28.85, 46.67, 0.38, 0.38, 1, 4, 0, 0.66)
A(dsm_ota, metal3, 18.29, 48.65, 0.38, 0.38, 3, 1, 0.66, 0)
A(dsm_ota, metal3, 5.75, 49.97, 1.04, 0.38, 26, 1, 0.66, 0)
A(dsm_ota, metal3, 5.75, 49.97, 0.38, 0.38, 27, 1, 0.66, 0)
A(dsm_ota, metal3, -0.19, 51.29, 1.04, 0.38, 29, 1, 0.66, 0)
A(dsm_ota, metal3, -0.19, 51.29, 0.38, 0.38, 30, 1, 0.66, 0)
A(dsm_ota, metal3, 34.79, 51.29, 1.04, 0.38, 9, 1, 0.66, 0)
A(dsm_ota, metal3, 34.79, 51.29, 0.38, 0.38, 10, 1, 0.66, 0)
A(dsm_ota, metal3, 3.77, 61.19, 1.04, 0.38, 28, 1, 0.66, 0)
A(dsm_ota, metal3, 3.77, 61.19, 0.38, 0.38, 29, 1, 0.66, 0)
R(dsm_ota, metal3, [(18.29,-0.19,19.33,0.19), (18.95,-0.19,19.99,0.19), (24.89,-0.19,25.93,0.19), (25.55,-0.19,26.59,0.19), (31.49,4.43,32.49,4.81), (22.91,8.39,23.91,8.77), (22.91,8.39,23.95,8.77), (23.57,8.39,24.61,8.77), (28.85,8.39,29.85,8.77), (19.61,9.05,20.65,9.43), (20.27,9.05,21.31,9.43), (11.03,9.71,12.03,10.09), (39.41,9.71,40.41,10.09), (39.41,9.71,40.45,10.09), (40.07,9.71,41.11,10.09), (30.83,14.33,31.83,14.71), (10.37,16.97,11.37,17.35), (29.51,16.97,30.51,17.35), (18.29,17.63,19.29,18.01), (18.29,17.63,19.33,18.01), (18.95,17.63,19.99,18.01), (36.11,17.63,37.11,18.01), (9.71,26.87,10.71,27.25), (28.85,26.87,29.85,27.25), (9.71,28.85,10.75,29.23), (10.37,28.85,11.41,29.23), (28.85,28.85,29.85,29.23), (2.45,29.51,3.45,29.89), (3.77,32.15,4.77,32.53), (20.27,33.47,21.31,33.85), (20.93,33.47,21.97,33.85), (36.77,38.75,37.77,39.13), (3.77,39.41,4.77,39.79), (11.03,43.37,12.03,43.75), (11.03,46.67,12.03,47.05), (28.85,46.67,29.85,47.05), (11.03,48.65,11.41,49.65), (18.29,48.65,19.33,49.03), (18.95,48.65,19.99,49.03), (28.85,48.65,29.23,49.65), (5.75,49.97,6.75,50.35), (34.79,51.29,35.79,51.67), (3.77,61.19,4.77,61.57), (20.97,61.19,21.97,61.57), (22.25,61.19,23.25,61.57), (20.27,64.49,20.65,64.87)])
dsm_ota.add(gdstk.Reference(dsm_ota_d4_p, (3.3,53.46)))
dsm_ota.add(gdstk.Reference(dsm_ota_d4_p, (21.12,53.46)))
dsm_ota.add(gdstk.Reference(dsm_ota_d3_p, (5.28,42.24)))
dsm_ota.add(gdstk.Reference(dsm_ota_d3_p, (21.12,42.24)))
dsm_ota.add(gdstk.Reference(dsm_ota_d2_n, (1.98,23.1)))
dsm_ota.add(gdstk.Reference(dsm_ota_d2_n, (21.12,23.1)))
dsm_ota.add(gdstk.Reference(dsm_ota_d1_n, (3.3,13.2)))
dsm_ota.add(gdstk.Reference(dsm_ota_d1_n, (21.12,13.2)))
dsm_ota.add(gdstk.Reference(dsm_ota_d1_n, (3.3,33)))
dsm_ota.add(gdstk.Reference(dsm_ota_d1_n, (21.12,33)))
dsm_ota.add(gdstk.Reference(dsm_ota_d0_n, (9.24,1.98)))
dsm_ota.add(gdstk.Label('vdd', (40.92,9.9), layer=42, texttype=10))
dsm_ota.add(gdstk.Label('vss', (0,9.9), layer=42, texttype=10))
dsm_ota.add(gdstk.Label('vbp', (26.4,0), layer=42, texttype=10))
dsm_ota.add(gdstk.Label('vbpc', (22.44,0), layer=42, texttype=10))
dsm_ota.add(gdstk.Label('vbnc', (18.48,0), layer=42, texttype=10))
dsm_ota.add(gdstk.Label('vbn', (14.52,0), layer=42, texttype=10))
dsm_ota.add(gdstk.Label('outp', (40.92,51.48), layer=42, texttype=10))
dsm_ota.add(gdstk.Label('inn', (40.92,32.34), layer=42, texttype=10))
dsm_ota.add(gdstk.Label('cmfb', (20.46,64.68), layer=42, texttype=10))
dsm_ota.add(gdstk.Label('outn', (0,51.48), layer=42, texttype=10))
dsm_ota.add(gdstk.Label('inp', (0,32.34), layer=42, texttype=10))

lib.write_gds('dsm_ota.gds')
